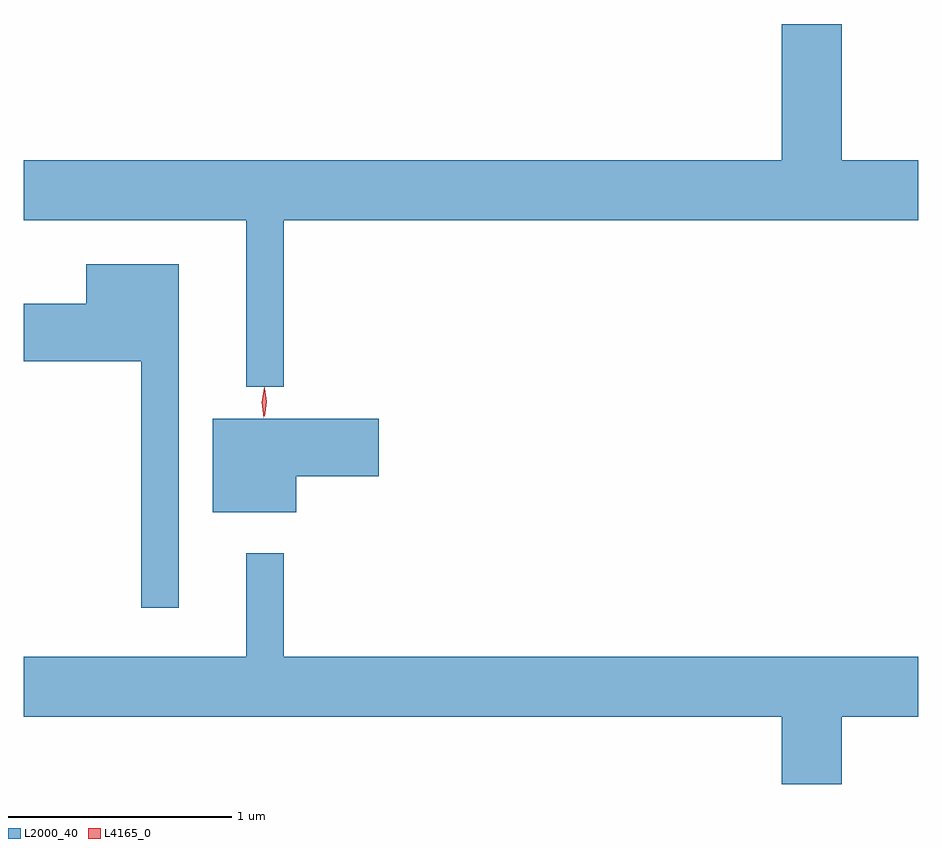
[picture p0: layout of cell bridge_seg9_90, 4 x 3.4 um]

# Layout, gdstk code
import gdstk
lib = gdstk.Library(unit=1e-6, precision=1e-09)
def P(c, l, *ps):  # polygons
    for p in ps: c.add(gdstk.Polygon(p, *l))
L2000_40 = (2000, 40)
L4165_0 = (4165, 0)

bridge_seg9_90 = lib.new_cell('bridge_seg9_90')
P(bridge_seg9_90, L2000_40, [(1791.269,1998.476),(1794.106,1998.476),(1794.106,1998.744),(1793.764,1998.744),(1793.764,1999.354),(1793.496,1999.354),(1793.496,1998.744),(1790.106,1998.744),(1790.106,1998.476),(1791.101,1998.476),(1791.101,1997.733),(1791.269,1997.733)],
  [(1790.799,1998.279),(1790.386,1998.279),(1790.386,1998.104),(1790.106,1998.104),(1790.106,1997.846),(1790.631,1997.846),(1790.631,1996.743),(1790.799,1996.743)],
  [(1791.324,1997.331),(1791.694,1997.331),(1791.694,1997.589),(1790.951,1997.589),(1790.951,1997.171),(1791.324,1997.171)],
  [(1793.764,1996.256),(1794.106,1996.256),(1794.106,1996.524),(1791.269,1996.524),(1791.269,1996.988),(1791.101,1996.988),(1791.101,1996.524),(1790.106,1996.524),(1790.106,1996.256),(1793.496,1996.256),(1793.496,1995.956),(1793.764,1995.956)])
P(bridge_seg9_90, L4165_0, [(1791.179,1997.594),(1791.171,1997.662),(1791.181,1997.73),(1791.182,1997.73),(1791.182,1997.73),(1791.191,1997.662),(1791.18,1997.594),(1791.18,1997.594)],
  [(1791.183,1997.6),(1791.174,1997.664),(1791.183,1997.726),(1791.184,1997.727),(1791.184,1997.726),(1791.193,1997.664),(1791.184,1997.6),(1791.184,1997.6)])

lib.write_gds('bridge_seg9_90.gds')
